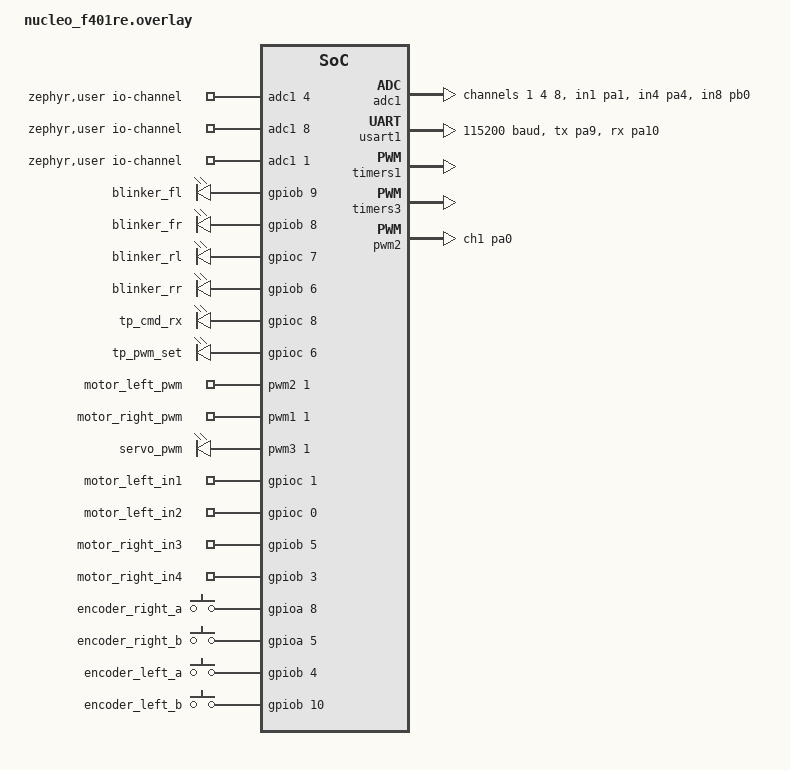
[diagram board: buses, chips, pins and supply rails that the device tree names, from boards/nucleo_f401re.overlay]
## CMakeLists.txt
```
cmake_minimum_required(VERSION 3.28.0)
find_package(Zephyr REQUIRED HINTS $ENV{ZEPHYR_BASE})
project(stm32)

# --- pi_stm32_uart module ---
add_library(pi_stm32_uart STATIC src/pi_stm32_uart.c)
target_include_directories(pi_stm32_uart PUBLIC ${CMAKE_CURRENT_SOURCE_DIR}/include)
target_link_libraries(pi_stm32_uart PUBLIC zephyr_interface)
add_dependencies(pi_stm32_uart zephyr_generated_headers)

# --- blinker module ---
add_library(blinker STATIC src/blinker.c)
target_include_directories(blinker PUBLIC ${CMAKE_CURRENT_SOURCE_DIR}/include)
target_link_libraries(blinker PUBLIC zephyr_interface)
add_dependencies(blinker zephyr_generated_headers)

# --- blinker control module ---
add_library(blinker_ctrl STATIC src/blinker_ctrl.c)
target_include_directories(blinker_ctrl PUBLIC ${CMAKE_CURRENT_SOURCE_DIR}/include)
target_link_libraries(blinker_ctrl PUBLIC zephyr_interface)
add_dependencies(blinker_ctrl zephyr_generated_headers)

# --- current module ---
add_library(current STATIC src/current.c)
target_include_directories(current PUBLIC ${CMAKE_CURRENT_SOURCE_DIR}/include)
target_link_libraries(current PUBLIC zephyr_interface)
add_dependencies(current zephyr_generated_headers)

# --- steering module ---
add_library(steering STATIC src/steering.c)
target_include_directories(steering PUBLIC ${CMAKE_CURRENT_SOURCE_DIR}/include)
target_link_libraries(steering PUBLIC zephyr_interface)
add_dependencies(steering zephyr_generated_headers)

# --- motor control module ---
add_library(motor_control STATIC src/motor_control.c)
target_include_directories(motor_control PUBLIC ${CMAKE_CURRENT_SOURCE_DIR}/include)
target_link_libraries(motor_control PUBLIC zephyr_interface)
add_dependencies(motor_control zephyr_generated_headers)

# --- encoder module ---
add_library(encoder STATIC src/encoder.c)
target_include_directories(encoder PUBLIC ${CMAKE_CURRENT_SOURCE_DIR}/include)
target_link_libraries(encoder PUBLIC zephyr_interface)
add_dependencies(encoder zephyr_generated_headers)

# --- pid module ---
add_library(pid_controller STATIC src/pid_controller.c)
target_include_directories(pid_controller PUBLIC ${CMAKE_CURRENT_SOURCE_DIR}/include)
target_link_libraries(pid_controller PUBLIC zephyr_interface)
add_dependencies(pid_controller zephyr_generated_headers)

# --- main app ---
target_sources(app PRIVATE src/main.c src/bench_commands.c)
target_link_libraries(app PRIVATE pi_stm32_uart)
target_link_libraries(app PRIVATE blinker)
target_link_libraries(app PRIVATE blinker_ctrl)
target_link_libraries(app PRIVATE current)
target_link_libraries(app PRIVATE steering)
target_link_libraries(app PRIVATE motor_control)
target_link_libraries(app PRIVATE encoder)
target_link_libraries(app PRIVATE pid_controller)
```

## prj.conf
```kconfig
CONFIG_GPIO=y
CONFIG_SERIAL=y
CONFIG_SHELL=y
CONFIG_SHELL_METAKEYS=y
CONFIG_UART_INTERRUPT_DRIVEN=y
CONFIG_CRC=y
CONFIG_PWM=y
CONFIG_ADC=y
CONFIG_LOG=y
CONFIG_PRINTK=y
```

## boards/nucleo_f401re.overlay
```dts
/* boards/nucleo_f401re.overlay */
#include <zephyr/dt-bindings/pwm/stm32_pwm.h>
/ {
	aliases {
		rpilink = &usart1;
		servo-pwm = &servo_pwm;
		blinker-fl = &blinker_fl;
		blinker-fr = &blinker_fr;
		blinker-rl = &blinker_rl;
		blinker-rr = &blinker_rr;
		motor-left-pwm = &motor_left_pwm;
		motor-right-pwm = &motor_right_pwm;
		motor-left-in1 = &motor_left_in1;
		motor-left-in2 = &motor_left_in2;
		motor-right-in3 = &motor_right_in3;
		motor-right-in4 = &motor_right_in4;
		encoder-right-a = &encoder_right_a;
		encoder-right-b = &encoder_right_b;
		encoder-left-a = &encoder_left_a;
		encoder-left-b = &encoder_left_b;
		tp-cmd-rx = &tp_cmd_rx;
		tp-pwm-set = &tp_pwm_set;
	};

	zephyr,user {
		/* index 0: left motor current (PA4), 1: right motor current (PB0),
		 * 2: servo current (PA1). Order matches current.c's enum
		 * CURRENT_MOTOR_A, CURRENT_MOTOR_B, CURRENT_SERVO. */
		io-channels = <&adc1 4>, <&adc1 8>, <&adc1 1>;
	};

	blinkers {
		compatible = "gpio-leds";

		blinker_fl: blinker_fl {
			gpios = <&gpiob 9 GPIO_ACTIVE_HIGH>;    /* D14 */
		};
		blinker_fr: blinker_fr {
			gpios = <&gpiob 8 GPIO_ACTIVE_HIGH>;    /* D15 */
		};
		blinker_rl: blinker_rl {
			gpios = <&gpioc 7 GPIO_ACTIVE_HIGH>;    /* D9 */
		};
		blinker_rr: blinker_rr {
			gpios = <&gpiob 6 GPIO_ACTIVE_HIGH>;    /* D10 */
		};
	};

	test_points {
		compatible = "gpio-leds";

		tp_cmd_rx: tp_cmd_rx {
			gpios = <&gpioc 8 GPIO_ACTIVE_HIGH>;
		};
		tp_pwm_set: tp_pwm_set  {
			gpios = <&gpioc 6 GPIO_ACTIVE_HIGH>;
		};
	};

	motor_pwm_outputs {
		compatible = "pwm-leds";

		motor_left_pwm: motor_left_pwm {
			pwms = <&pwm2 1 PWM_USEC(100) PWM_POLARITY_NORMAL>;
		};
		motor_right_pwm: motor_right_pwm {
			pwms = <&pwm1 1 PWM_USEC(100)
				(PWM_POLARITY_NORMAL | STM32_PWM_COMPLEMENTARY)>;
		};
	};

	servo_outputs {
		compatible = "pwm-leds";

		servo_pwm: servo_pwm {
			pwms = <&pwm3 1 PWM_MSEC(20) PWM_POLARITY_NORMAL>;
		};
	};

	motor_direction_outputs {
		compatible = "gpio-leds";

		motor_left_in1: motor_left_in1 {
			gpios = <&gpioc 1 GPIO_ACTIVE_HIGH>; /* A4 */
		};
		motor_left_in2: motor_left_in2 {
			gpios = <&gpioc 0 GPIO_ACTIVE_HIGH>; /* A5 */
		};
		motor_right_in3: motor_right_in3 {
			gpios = <&gpiob 5 GPIO_ACTIVE_HIGH>; /* D4 */
		};
		motor_right_in4: motor_right_in4 {
			gpios = <&gpiob 3 GPIO_ACTIVE_HIGH>; /* D3 */
		};
	};

	encoder_inputs {
		compatible = "gpio-keys";

		encoder_right_a: encoder_right_a {
			gpios = <&gpioa 8 GPIO_ACTIVE_HIGH>; /* D7, phase A */
		};
		encoder_right_b: encoder_right_b {
			gpios = <&gpioa 5 GPIO_ACTIVE_HIGH>; /* D13, phase B */
		};
		encoder_left_a: encoder_left_a {
			gpios = <&gpiob 4 GPIO_ACTIVE_HIGH>; /* D5, phase A */
		};
		encoder_left_b: encoder_left_b {
			gpios = <&gpiob 10 GPIO_ACTIVE_HIGH>; /* D6, phase B */
		};
	};
};

&spi1 { status = "disabled"; };
&i2c1 { status = "disabled"; };
&i2c3 { status = "disabled"; };

&adc1 {
	#address-cells = <1>;
	#size-cells = <0>;
	status = "okay";
	pinctrl-0 = <&adc1_in1_pa1 &adc1_in4_pa4 &adc1_in8_pb0>;
	pinctrl-names = "default";

	channel@1 {
		reg = <1>;
		zephyr,gain = "ADC_GAIN_1";
		zephyr,reference = "ADC_REF_INTERNAL";
		zephyr,acquisition-time = <ADC_ACQ_TIME_DEFAULT>;
		zephyr,input-positive = <1>; /* IN1, PA1 / A1, servo current */
		zephyr,resolution = <12>;
	};
	channel@4 {
		reg = <4>;
		zephyr,gain = "ADC_GAIN_1";
		zephyr,reference = "ADC_REF_INTERNAL";
		zephyr,acquisition-time = <ADC_ACQ_TIME_DEFAULT>;
		zephyr,input-positive = <4>; /* IN4, PA4 / A2, left motor current */
		zephyr,resolution = <12>;
	};
	channel@8 {
		reg = <8>;
		zephyr,gain = "ADC_GAIN_1";
		zephyr,reference = "ADC_REF_INTERNAL";
		zephyr,acquisition-time = <ADC_ACQ_TIME_DEFAULT>;
		zephyr,input-positive = <8>; /* IN8, PB0 / A3, right motor current */
		zephyr,resolution = <12>;
	};
};

&usart1 {
	/* Pi link: D8/PA9 TX, D2/PA10 RX */
	status = "okay";
	current-speed = <115200>;
	pinctrl-0 = <&usart1_tx_pa9 &usart1_rx_pa10>;
	pinctrl-names = "default";
};

&timers1 {
	status = "okay";
	pwm1: pwm {
		status = "okay";
        pinctrl-0 = <&tim1_ch1n_pa7>;
        pinctrl-names = "default";
	};
};

&timers3 {
	st,prescaler = <27>;
	status = "okay";
	pwm3: pwm {
		status = "okay";
		pinctrl-0 = <&tim3_ch1_pa6>;
		pinctrl-names = "default";
	};
};

&pwm2 {
	status = "okay";
	pinctrl-0 = <&tim2_ch1_pa0>;
	pinctrl-names = "default";
};
```

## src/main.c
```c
#include <zephyr/kernel.h>
#include <zephyr/sys/printk.h>
#include "pi_stm32_uart.h"
#include "blinker.h"
#include "blinker_ctrl.h"
#include "encoder.h"
#include "motor_control.h"
#include "current.h"
#include "pid_controller.h"
#include "steering.h"
#include "control_state.h"
#include "testpoints.h"

#define CONTROL_PERIOD_MS 10U
#define BRAKE_ACTIVE_THRESHOLD 50U

#define PID_MAX_SPEED_TRANSITIONS_PER_SECOND 6500.0f   // 14454.0 counts / 2 seconds = 7227 max -> 6500 = ~90% of measured 7227 max
#define PID_KP_DEFAULT 0.15f
#define PID_KI_DEFAULT 0.04f
#define PID_KD_DEFAULT 0.0f

#define RIGHT_ENCODER_SIGN  1   /* set to -1 if right wheel reads backward */
#define LEFT_ENCODER_SIGN   -1   /* set to -1 if left wheel reads backward */

#define MOTOR_MIN_EFFECTIVE_DUTY 55U

#define STATE_INIT     0
#define STATE_NORMAL   1
#define STATE_FAILSAFE 2
#define STATE_SELFTEST 3

#define FAILSAFE_TIMEOUT_MS 100

#define LEFT_TURN_BIT  0x01
#define RIGHT_TURN_BIT 0x02
#define SELF_TEST_BIT  0x04

#define PID_UPDATE_PERIOD_MS 20U   /* minimum real time between PID recalculations */

#define SELF_TEST_DOUBLE_PRESS_WINDOW_MS 500U

static atomic_t zone_state = ATOMIC_INIT(STATE_INIT);
static atomic_t application_initialized = ATOMIC_INIT(0);

/* Shared with bench_commands.c via control_state.h */
atomic_t pid_enabled = ATOMIC_INIT(1);
struct pid_controller right_pid;
struct pid_controller left_pid;

static int32_t previous_right_count;
static int32_t previous_left_count;
static bool have_speed_sample;
static int64_t previous_apply_time_ms;

static atomic_t self_test_failed = ATOMIC_INIT(0);
static int64_t last_self_test_press_ms = 0;

static float current_status_value(enum current_id id)
{
	float amps;
	int ret = current_read_amps(id, &amps);

	if (ret < 0) {
		printk("Current read failed for channel %d: %d\n", id, ret);
		return 0.0f;
	}

	if (amps < 0.0f) {
		amps = -amps;
	}
	return amps;
}

void reset_speed_controllers(void)
{
	pid_controller_reset(&right_pid);
	pid_controller_reset(&left_pid);
	have_speed_sample = false;
	previous_apply_time_ms = k_uptime_get();
}

static void apply_throttle(uint16_t throttle)
{
	int64_t now_ms = k_uptime_get();

	if (throttle > 1000U) {
		throttle = 1000U;
	}
	if (throttle == 0U) {
		(void)motor_control_dynamic_brake();
		reset_speed_controllers();
		return;
	}

	if (atomic_get(&pid_enabled) == 0) {
		(void)motor_control_drive_forward(throttle / 10U);
		return;
	}

	/* Only run the PID update itself at a bounded minimum interval —
	 * velocity-from-counts is too noisy to differentiate faster than this. */
	if (have_speed_sample && (now_ms - previous_apply_time_ms) < PID_UPDATE_PERIOD_MS) {
		return;   /* keep driving at the last commanded duty; don't recompute yet */
	}

	int32_t right_count, left_count;
	float right_speed, left_speed, target_speed, dt_seconds;
	unsigned int right_duty, left_duty;

	encoder_get_counts(&right_count, &left_count);
	if (!have_speed_sample) {
		previous_right_count = right_count;
		previous_left_count = left_count;
		previous_apply_time_ms = now_ms;
		have_speed_sample = true;
		(void)motor_control_drive_forward(0U);
		return;
	}

	dt_seconds = (float)(now_ms - previous_apply_time_ms) / 1000.0f;
	previous_apply_time_ms = now_ms;

	right_speed = RIGHT_ENCODER_SIGN * (float)(right_count - previous_right_count) / dt_seconds;
	left_speed  = LEFT_ENCODER_SIGN  * (float)(left_count  - previous_left_count)  / dt_seconds;
	previous_right_count = right_count;
	previous_left_count = left_count;
	target_speed = ((float)throttle / 1000.0f) * PID_MAX_SPEED_TRANSITIONS_PER_SECOND;

	right_duty = (unsigned int)pid_controller_update(&right_pid, target_speed, right_speed, dt_seconds);
	left_duty  = (unsigned int)pid_controller_update(&left_pid, target_speed, left_speed, dt_seconds);

	if (right_duty > 0 && right_duty < MOTOR_MIN_EFFECTIVE_DUTY) right_duty = MOTOR_MIN_EFFECTIVE_DUTY;
	if (left_duty > 0 && left_duty < MOTOR_MIN_EFFECTIVE_DUTY) left_duty = MOTOR_MIN_EFFECTIVE_DUTY;

	(void)motor_control_set_state(MOTOR_CHANNEL_A, MOTOR_CONTROL_FORWARD, left_duty);
	(void)motor_control_set_state(MOTOR_CHANNEL_B, MOTOR_CONTROL_FORWARD, right_duty);

	static uint32_t debug_counter = 0;
	if (++debug_counter % 5 == 0) {
		printk("dt=%.4f target=%.1f right_spd=%.1f right_duty=%u | left_spd=%.1f left_duty=%u\n",
			(double)dt_seconds, (double)target_speed, (double)right_speed, right_duty,
			(double)left_speed, left_duty);
	}
}

// Status heartbeat thread: sends every 20ms
static void status_thread_fn(void *a, void *b, void *c)
{
	ARG_UNUSED(a); ARG_UNUSED(b); ARG_UNUSED(c);

	while (1) {
		status_frame_t st;
		st.state = (uint8_t)atomic_get(&zone_state);

		if (atomic_get(&application_initialized) != 0) {
			st.motor1_current = current_status_value(CURRENT_MOTOR_A);
			st.motor2_current = current_status_value(CURRENT_MOTOR_B);
			st.servo_current  = current_status_value(CURRENT_SERVO);
		} else {
			st.motor1_current = 0.0f;
			st.motor2_current = 0.0f;
			st.servo_current  = 0.0f;
		}
         
		cmd_frame_t last_cmd;
		st.seq = pi_stm32_uart_get_latest_cmd(&last_cmd) ? last_cmd.seq : 0;

		pi_stm32_uart_send_status(&st);
		k_sleep(K_MSEC(20));
	}
}
K_THREAD_DEFINE(status_tid, 1024, status_thread_fn, NULL, NULL, NULL, 7, 0, 0);

// Control thread: reads latest command, checks failsafe, drives actuators
static void control_thread_fn(void *a, void *b, void *c)
{
	ARG_UNUSED(a); ARG_UNUSED(b); ARG_UNUSED(c);

	uint8_t prev_buttons = 0;

	while (1) {
		/* Wake immediately when a command arrives, or after
		 * CONTROL_PERIOD_MS regardless, so failsafe/self-cancel
		 * logic keeps running even with no commands flowing. */
		k_sem_take(&cmd_received_sem, K_MSEC(CONTROL_PERIOD_MS));
		if (atomic_get(&application_initialized) == 0) {
			atomic_set(&zone_state, STATE_FAILSAFE);
			blinker_set_hazard(true);
			continue;
		}

		cmd_frame_t cmd;
		bool have = pi_stm32_uart_get_latest_cmd(&cmd);
		uint32_t age = pi_stm32_uart_ms_since_last_cmd();
		bool invalid_cmd = pi_stm32_uart_take_invalid_cmd();

		/*
		 * Evaluate the self-test edge before the failure-state branch.
		 * Otherwise LOCAL_FAIL prevents the second press from ever being
		 * observed, making double-press restoration impossible.
		 */
		if (have) {
			bool left_now = cmd.buttons & LEFT_TURN_BIT;
			bool right_now = cmd.buttons & RIGHT_TURN_BIT;
			bool self_test_now = cmd.buttons & SELF_TEST_BIT;

			bool left_prev = prev_buttons & LEFT_TURN_BIT;
			bool right_prev = prev_buttons & RIGHT_TURN_BIT;
			bool self_test_prev = prev_buttons & SELF_TEST_BIT;

			if (!atomic_get(&self_test_failed)) {
				if (left_now && !left_prev) {
					blinker_signal_left_pressed();
				}
				if (right_now && !right_prev) {
					blinker_signal_right_pressed();
				}
			}

			if (self_test_now && !self_test_prev) {
				int64_t now_ms = k_uptime_get();
				int64_t delta = now_ms - last_self_test_press_ms;

				printk("SELF-TEST EDGE: delta_since_last=%lldms, currently_failed=%ld\n",
					delta, atomic_get(&self_test_failed));
				if (atomic_get(&self_test_failed) &&
				    delta <= SELF_TEST_DOUBLE_PRESS_WINDOW_MS) {
					atomic_set(&self_test_failed, 0);
					printk("*** SELF-TEST: RESTORED (double press) ***\n");
				} else {
					atomic_set(&self_test_failed, 1);
					printk("*** SELF-TEST: FAILED (single press) ***\n");
				}
				last_self_test_press_ms = now_ms;
			}

			prev_buttons = cmd.buttons;
		}

		if (!have || age > FAILSAFE_TIMEOUT_MS ||
		    atomic_get(&self_test_failed) || invalid_cmd) {
 			if (atomic_get(&zone_state) != STATE_FAILSAFE) {
				printk("*** ENTERING FAILSAFE (age=%ums%s) ***\n", age,
				       invalid_cmd ? ", invalid command" : "");
				blinker_set_hazard(true);
			}
			atomic_set(&zone_state, STATE_FAILSAFE);

			if (!motor_control_manual_test_active()) {
				(void)motor_control_dynamic_brake();
			}
			reset_speed_controllers();

		} else {
			if (atomic_get(&zone_state) == STATE_FAILSAFE) {
				printk("*** RECOVERED TO NORMAL ***\n");
				blinker_set_hazard(false);
			}
			atomic_set(&zone_state, STATE_NORMAL);

			printk("seq=%u steer=%d thr=%u brk=%u btn=0x%02x age=%ums\n",
			       cmd.seq, cmd.steering, cmd.throttle, cmd.brake, cmd.buttons, age);

			if (!motor_control_manual_test_active()) {
				(void)set_wheel_angle(cmd.steering);
				if (cmd.brake >= BRAKE_ACTIVE_THRESHOLD) {
					(void)motor_control_dynamic_brake();
					reset_speed_controllers();
				} else {
					apply_throttle(cmd.throttle);
				}
			}
			blinker_update_steering(cmd.steering);
		}
	}
}
K_THREAD_DEFINE(control_tid, 1024, control_thread_fn, NULL, NULL, NULL, 5, 0, 0);

int main(void)
{
	if (testpoints_init() < 0) {
		printk("testpoints init failed\n");
	}

	pi_stm32_uart_init();

	int motor_rc = motor_control_init();
	if (motor_rc != 0) {
		atomic_set(&zone_state, STATE_FAILSAFE);
		printk("Motor safe-output initialization failed: %d\n", motor_rc);
	}

	int encoder_rc = encoder_init();
	if (encoder_rc != 0) {
		printk("Encoder initialization failed: %d\n", encoder_rc);
	}

	int steering_rc = servo_init();
	if (steering_rc != 0) {
		printk("Steering initialization failed: %d\n", steering_rc);
	}

	int current_rc = current_init();
	if (current_rc != 0) {
		printk("Current-sense initialization failed: %d\n", current_rc);
	}

	int blinker_rc = blinker_init_all();
	if (blinker_rc != 0) {
		printk("Blinker initialization failed: %d\n", blinker_rc);
	}

	pid_controller_init(&right_pid, PID_KP_DEFAULT, PID_KI_DEFAULT, PID_KD_DEFAULT, 0.0f, 100.0f);
	pid_controller_init(&left_pid, PID_KP_DEFAULT, PID_KI_DEFAULT, PID_KD_DEFAULT, 0.0f, 100.0f);

	if (motor_rc == 0) {
		atomic_set(&application_initialized, 1);
	}

	printk("Lab 2 STM32 online. Waiting for commands...\n");
	return 0;
}
```

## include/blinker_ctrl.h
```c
#ifndef BLINKER_CTRL_H
#define BLINKER_CTRL_H

#include <stdint.h>
#include <stdbool.h>

enum blink_state {
    BLINK_OFF,
    BLINK_LEFT,
    BLINK_RIGHT,
    BLINK_HAZARD,
};

/* Starts the blinker thread */
void blinker_control_start(void);

/* Called from control thread each time a new command frame is processed. */
void blinker_signal_left_pressed(void);
void blinker_signal_right_pressed(void);

/* Called from control thread every cycle with the current steering value,
 * to detect threshold crossings for self-cancel. */
void blinker_update_steering(int16_t steering);

/* Called to force hazards on/off (self-test / system error state). */
void blinker_set_hazard(bool on);

#endif
```

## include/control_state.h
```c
#ifndef CONTROL_STATE_H
#define CONTROL_STATE_H

#include <zephyr/kernel.h>
#include "pid_controller.h"

/* Shared between main.c (owns/updates these) and bench_commands.c
 * (shell commands that need to read/reset/retune them). */
extern atomic_t pid_enabled;
extern struct pid_controller right_pid;
extern struct pid_controller left_pid;

void reset_speed_controllers(void);

#endif
```

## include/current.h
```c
#ifndef CURRENT_H
#define CURRENT_H

#include <stdint.h>

enum current_id {
    CURRENT_MOTOR_A,   /* left motor: A2 / PA4 / IN4 -> index 0 */
    CURRENT_MOTOR_B,   /* right motor: A3 / PB0 / IN8 -> index 1 */
    CURRENT_SERVO,     /* steering: A1 / PA1 / IN1 -> index 2 */
    CURRENT_COUNT
};
/* Configures the ADC channel(s). Returns 0 on success, or a negative
 * errno (-ENODEV if the ADC device isn't ready, or whatever
 * adc_channel_setup_dt returns). */
int current_init(void);

/* Reads one channel and returns the raw ADC count (0..4095 for 12-bit).
 * Returns a negative errno on failure. */
int current_read_raw(enum current_id id);

/* Converts a raw ADC count on the STM32 pin back to the current in amps
 * that the ACS712 is reporting, undoing the voltage divider. */
float current_raw_to_amps(int32_t raw_count);

/* Convenience: reads and converts in one call. Returns 0 on success and
 * writes the result to *out_amps; returns a negative errno on failure. */
int current_read_amps(enum current_id id, float *out_amps);

#endif /* CURRENT_H */
```

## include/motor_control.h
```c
#ifndef MOTOR_CONTROL_H
#define MOTOR_CONTROL_H

#include <stdbool.h>

#define MOTOR_TEST_DURATION_MS  3000U
#define MOTOR_TEST_DUTY_PERCENT 100U

/*
 * Low-level interface to the L298N. Initialization applies dynamic braking
 * (both PWM enables at 100% and all four direction inputs high); subsequent
 * commands change direction only after first disabling the PWM enable.
 */

int motor_control_init(void);
int motor_control_safe_stop(void);

enum motor_control_channel {
	MOTOR_CHANNEL_A, /* Left: L298N OUT1 / OUT2, controlled by ENA / IN1 / IN2 */
	MOTOR_CHANNEL_B, /* Right: L298N OUT3 / OUT4, controlled by ENB / IN3 / IN4 */
};

enum motor_control_state {
	MOTOR_CONTROL_COAST,
	MOTOR_CONTROL_FORWARD,
	MOTOR_CONTROL_REVERSE,
	MOTOR_CONTROL_BRAKE,
};

/* Set one H-bridge channel. Duty is a percent (0 through 100). */
int motor_control_set_state(enum motor_control_channel channel,
			    enum motor_control_state state, unsigned int duty_percent);

/* Apply the same forward duty to both physical wheels. */
int motor_control_drive_forward(unsigned int duty_percent);
int motor_control_dynamic_brake(void);

/*
 * Bench-only proof of the wired output path. This drives exactly one channel
 * at the configured test duty/duration, then returns to dynamic braking.
 */
int motor_control_pulse(enum motor_control_channel channel);
bool motor_control_manual_test_active(void);

#endif /* MOTOR_CONTROL_H */
```

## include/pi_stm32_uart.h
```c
#ifndef PI_STM32_UART_H
#define PI_STM32_UART_H

#include <stdint.h>
#include <stdbool.h>

typedef struct {
	int16_t  steering;
	uint16_t throttle;
	uint16_t brake;
	uint8_t  buttons;
	uint8_t  seq;
} cmd_frame_t;

typedef struct {
	uint8_t  state;      /* 0=INIT,1=NORMAL,2=FAILSAFE,3=SELFTEST */
	uint8_t  seq;
	float    motor1_current; /* amps */
	float    motor2_current; /* amps */
	float    servo_current;  /* amps */
} status_frame_t;

extern struct k_sem cmd_received_sem;

void pi_stm32_uart_init(void);

/* Returns true if a valid command has ever been received.
 * Always fills *out with the latest known command (even if stale) —
 * caller checks staleness separately via pi_stm32_uart_ms_since_last_cmd(). */
bool pi_stm32_uart_get_latest_cmd(cmd_frame_t *out);

uint32_t pi_stm32_uart_ms_since_last_cmd(void);

void pi_stm32_uart_send_status(const status_frame_t *st);

#endif
```

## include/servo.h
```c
#ifndef SERVO_H
#define SERVO_H

#include <stdint.h>

#define SERVO_PERIOD_US       20000U
#define SERVO_PULSE_MIN_US    500U
#define SERVO_PULSE_MAX_US    2500U
#define SERVO_PULSE_CENTER_US 1500U
#define MAX_WHEEL_STATE       1000
#define MIN_WHEEL_STATE       1000

/* Configure the servo PWM and start at the neutral pulse width. */
int servo_init(void);

/* Set the pulse width; values are clamped to the supported range. */
int servo_set_pulse_us(uint32_t pulse_us);

/* Sets wheel angle based off inbound UDP packet data */
int set_wheel_angle(int32_t wheel_state);

/* For breaking, disables servo output */
int servo_disable(void);

#endif
```

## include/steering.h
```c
#ifndef STEERING_H
#define STEERING_H

#include <stdint.h>

#define SERVO_PERIOD_US       20000U
#define SERVO_PULSE_MIN_US    500U
#define SERVO_PULSE_MAX_US    2500U
#define SERVO_PULSE_CENTER_US 1500U
#define MAX_WHEEL_STATE       1000
#define MIN_WHEEL_STATE       -1000
#define SERVO_PULSE_LEFT_US    1000U   /* measured, minus margin */
#define SERVO_PULSE_CENTER_US  1500U   /* measured straight-ahead */
#define SERVO_PULSE_RIGHT_US   2000U   /* measured, minus margin */

/* Configure the servo PWM and start at the neutral pulse width. */
int servo_init(void);

/* Set the pulse width; values are clamped to the supported range. */
int servo_set_pulse_us(uint32_t pulse_us);

/* Sets wheel angle based off inbound UDP packet data */
int set_wheel_angle(int16_t wheel_state);

/* For breaking, disables servo output */
int servo_disable(void);

#endif /* STEERING_H */
```

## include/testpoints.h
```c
#ifndef TESTPOINTS_H
#define TESTPOINTS_H

#include <stdbool.h>

/*
 * Optional timing instrumentation hooks.  No test-point GPIO aliases are in
 * the current Lab 2 wiring, so these are deliberately harmless no-ops until
 * the team maps physical test-point pins.
 */
enum testpoint_id {
	TP_CMD_RX,
	TP_PWM_SET,
};

int testpoints_init(void);
void testpoint_set(enum testpoint_id id, bool asserted);

#endif /* TESTPOINTS_H */
```

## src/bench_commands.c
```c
#include <errno.h>
#include <stdlib.h>

#include <zephyr/kernel.h>
#include <zephyr/shell/shell.h>

#include "encoder.h"
#include "motor_control.h"
#include "steering.h"
#include "control_state.h"

#define ENCODER_MONITOR_PERIOD_MS 100U
#define STEERING_TEST_MAGNITUDE   500
#define STEERING_TEST_HOLD_MS     1000U

static int cmd_pid_enable(const struct shell *sh, size_t argc, char **argv)
{
	if (argc != 2 || (argv[1][0] != '0' && argv[1][0] != '1') ||
	    argv[1][1] != '\0') {
		shell_error(sh, "usage: pid_enable <0|1>");
		return -EINVAL;
	}

	atomic_set(&pid_enabled, argv[1][0] == '1');
	pid_controller_reset(&right_pid);
	pid_controller_reset(&left_pid);
	shell_print(sh, "PID speed control %s", argv[1][0] == '1' ? "enabled" : "disabled");
	if (argv[1][0] == '1') {
		shell_warn(sh, "Enable only after both encoder counts are valid; bad feedback can command full PWM");
	}
	return 0;
}
SHELL_CMD_ARG_REGISTER(pid_enable, NULL,
			"Enable PID only after encoder validation: pid_enable <0|1>",
			cmd_pid_enable, 2, 0);

static int cmd_pid_gains(const struct shell *sh, size_t argc, char **argv)
{
	char *end;
	float kp, ki, kd;

	if (argc != 4) {
		shell_error(sh, "usage: pid_gains <kp> <ki> <kd>");
		return -EINVAL;
	}

	kp = strtof(argv[1], &end);
	if (*end != '\0') return -EINVAL;
	ki = strtof(argv[2], &end);
	if (*end != '\0') return -EINVAL;
	kd = strtof(argv[3], &end);
	if (*end != '\0') return -EINVAL;

	pid_controller_set_gains(&right_pid, kp, ki, kd);
	pid_controller_set_gains(&left_pid, kp, ki, kd);
	pid_controller_reset(&right_pid);
	pid_controller_reset(&left_pid);
	shell_print(sh, "PID gains set: Kp=%g Ki=%g Kd=%g", (double)kp, (double)ki, (double)kd);
	return 0;
}
SHELL_CMD_ARG_REGISTER(pid_gains, NULL, "Set both motor PID gains: pid_gains <kp> <ki> <kd>",
			cmd_pid_gains, 4, 0);

static int cmd_motor_pulse(const struct shell *sh, size_t argc, char **argv)
{
	enum motor_control_channel channel;
	int rc;

	if (argc != 2 || (argv[1][0] != 'a' && argv[1][0] != 'b') || argv[1][1] != '\0') {
		shell_error(sh, "usage: motor_pulse <a|b>");
		return -EINVAL;
	}

	channel = argv[1][0] == 'a' ? MOTOR_CHANNEL_A : MOTOR_CHANNEL_B;
	shell_print(sh, "Pulsing motor channel %c at %u%% for %u ms", argv[1][0],
		    MOTOR_TEST_DUTY_PERCENT, MOTOR_TEST_DURATION_MS);
	rc = motor_control_pulse(channel);
	if (rc != 0) {
		shell_error(sh, "pulse failed: %d", rc);
		return rc;
	}

	shell_print(sh, "Pulse finished; motor outputs are safe");
	return 0;
}
SHELL_CMD_ARG_REGISTER(motor_pulse, NULL, "Bench pulse: motor_pulse <a|b>", cmd_motor_pulse, 2, 0);

static int cmd_steering_test(const struct shell *sh, size_t argc, char **argv)
{
	int rc;

	ARG_UNUSED(argc);
	ARG_UNUSED(argv);
	shell_print(sh, "Steering test: center, right, center, left, center");

	rc = set_wheel_angle(0);
	if (rc != 0) return rc;
	k_sleep(K_MSEC(STEERING_TEST_HOLD_MS));

	rc = set_wheel_angle(STEERING_TEST_MAGNITUDE);
	if (rc != 0) return rc;
	k_sleep(K_MSEC(STEERING_TEST_HOLD_MS));

	rc = set_wheel_angle(0);
	if (rc != 0) return rc;
	k_sleep(K_MSEC(STEERING_TEST_HOLD_MS));

	rc = set_wheel_angle(-STEERING_TEST_MAGNITUDE);
	if (rc != 0) return rc;
	k_sleep(K_MSEC(STEERING_TEST_HOLD_MS));

	rc = set_wheel_angle(0);
	if (rc == 0) {
		shell_print(sh, "Steering test complete; wheels centered");
	}
	return rc;
}
SHELL_CMD_REGISTER(steering_test, NULL, "Center/right/left steering bench test", cmd_steering_test);

static int cmd_encoder_status(const struct shell *sh, size_t argc, char **argv)
{
	int32_t right_count, left_count;

	ARG_UNUSED(argc);
	ARG_UNUSED(argv);
	encoder_get_counts(&right_count, &left_count);
	shell_print(sh, "Encoder counts: right=%d left=%d", right_count, left_count);
	return 0;
}
SHELL_CMD_REGISTER(encoder_status, NULL, "Show signed encoder counts", cmd_encoder_status);

static int cmd_encoder_zero(const struct shell *sh, size_t argc, char **argv)
{
	ARG_UNUSED(argc);
	ARG_UNUSED(argv);
	encoder_zero_counts();
	shell_print(sh, "Encoder counts reset to zero");
	return 0;
}
SHELL_CMD_REGISTER(encoder_zero, NULL, "Reset both encoder counts", cmd_encoder_zero);

static int cmd_encoder_levels(const struct shell *sh, size_t argc, char **argv)
{
	uint8_t right_a, right_b, left_a, left_b;
	int rc;

	ARG_UNUSED(argc);
	ARG_UNUSED(argv);
	rc = encoder_get_levels(&right_a, &right_b, &left_a, &left_b);
	if (rc != 0) {
		shell_error(sh, "encoder read failed: %d", rc);
		return rc;
	}

	shell_print(sh, "Encoder levels: right A=%u B=%u; left A=%u B=%u",
		    right_a, right_b, left_a, left_b);
	return 0;
}
SHELL_CMD_REGISTER(encoder_levels, NULL, "Show live A/B logic levels", cmd_encoder_levels);

static int cmd_encoder_monitor(const struct shell *sh, size_t argc, char **argv)
{
	uint8_t input[32];
	uint8_t right_a, right_b, left_a, left_b;
	int rc;

	ARG_UNUSED(argc);
	ARG_UNUSED(argv);
	shell_print(sh, "Monitoring encoder levels every %u ms; press Ctrl-C to stop",
		    ENCODER_MONITOR_PERIOD_MS);

	while (true) {
		rc = encoder_get_levels(&right_a, &right_b, &left_a, &left_b);
		if (rc != 0) {
			shell_error(sh, "encoder read failed: %d", rc);
			return rc;
		}

		shell_print(sh, "Encoder levels: right A=%u B=%u; left A=%u B=%u",
			    right_a, right_b, left_a, left_b);

		rc = shell_readline(sh, input, sizeof(input), K_MSEC(ENCODER_MONITOR_PERIOD_MS));
		if (rc == -ECANCELED) break;
		if (rc < 0 && rc != -ETIMEDOUT) {
			shell_error(sh, "monitor input failed: %d", rc);
			return rc;
		}
	}

	shell_print(sh, "Encoder monitor stopped");
	return 0;
}
SHELL_CMD_REGISTER(encoder_monitor, NULL, "Continuously show A/B levels; Ctrl-C stops it",
		    cmd_encoder_monitor);

static int cmd_encoder_edges(const struct shell *sh, size_t argc, char **argv)
{
	int32_t right_a, right_b, left_a, left_b;

	ARG_UNUSED(argc);
	ARG_UNUSED(argv);
	encoder_get_edge_counts(&right_a, &right_b, &left_a, &left_b);
	shell_print(sh, "Raw encoder edges: right A=%d B=%d; left A=%d B=%d",
		    right_a, right_b, left_a, left_b);
	return 0;
}
SHELL_CMD_REGISTER(encoder_edges, NULL, "Show raw A/B GPIO edge counts", cmd_encoder_edges);

static int cmd_encoder_count_monitor(const struct shell *sh, size_t argc, char **argv)
{
	uint8_t input[32];
	int32_t right_count, left_count;
	int32_t right_a_edges, right_b_edges, left_a_edges, left_b_edges;
	int rc;

	ARG_UNUSED(argc);
	ARG_UNUSED(argv);
	shell_print(sh, "Monitoring encoder transition counts every %u ms; press Ctrl-C to stop",
		    ENCODER_MONITOR_PERIOD_MS);

	while (true) {
		encoder_get_counts(&right_count, &left_count);
		encoder_get_edge_counts(&right_a_edges, &right_b_edges, &left_a_edges, &left_b_edges);

		shell_print(sh, "Counts: right=%d (A=%d B=%d); left=%d (A=%d B=%d)",
			    right_count, right_a_edges, right_b_edges,
			    left_count, left_a_edges, left_b_edges);

		rc = shell_readline(sh, input, sizeof(input), K_MSEC(ENCODER_MONITOR_PERIOD_MS));
		if (rc == -ECANCELED) break;
		if (rc < 0 && rc != -ETIMEDOUT) {
			shell_error(sh, "monitor input failed: %d", rc);
			return rc;
		}
	}

	shell_print(sh, "Encoder count monitor stopped");
	return 0;
}
SHELL_CMD_REGISTER(encoder_count_monitor, NULL, "Continuously show transition counts; Ctrl-C stops it",
		    cmd_encoder_count_monitor);
```

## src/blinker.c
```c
#include <zephyr/kernel.h>
#include <zephyr/drivers/gpio.h>
#include "blinker.h"

static const struct gpio_dt_spec blinkers[BLINKER_COUNT] = {
    [BLINKER_FL] = GPIO_DT_SPEC_GET(DT_ALIAS(blinker_fl), gpios),
    [BLINKER_FR] = GPIO_DT_SPEC_GET(DT_ALIAS(blinker_fr), gpios),
    [BLINKER_RL] = GPIO_DT_SPEC_GET(DT_ALIAS(blinker_rl), gpios),
    [BLINKER_RR] = GPIO_DT_SPEC_GET(DT_ALIAS(blinker_rr), gpios),
};

int blinker_init(enum blinker_id id) {
    if (id >= BLINKER_COUNT) {
        return -EINVAL;
    }
    if (!gpio_is_ready_dt(&blinkers[id])) {
            return -ENODEV;
    }
    return gpio_pin_configure_dt(&blinkers[id], GPIO_OUTPUT_INACTIVE);
}

int blinker_init_all(void)
{
    for (int i = 0; i < BLINKER_COUNT; i++) {
        int ret;
        if ((ret = blinker_init(i)) < 0) {
            return ret;
        }
    }
    return 0;
}

void blinker_set(enum blinker_id id, bool on)
{
    if (id < BLINKER_COUNT) {
        gpio_pin_set_dt(&blinkers[id], on);
    }
}
```

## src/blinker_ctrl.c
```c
#include <zephyr/kernel.h>
#include <stdbool.h>
#include "blinker.h"
#include "blinker_ctrl.h"

/* TODO: tune and document — steering units match your UART command frame's
 * ±1000 range. This is the point past which turning the wheel counts as
 * "committed to the turn" for self-cancel purposes. */
#define TURN_THRESHOLD_LEFT   (-400)
#define TURN_THRESHOLD_RIGHT  (400)

#define BLINK_PERIOD_MS   1000   /* 1Hz nominal */
#define BLINK_ON_MS       (BLINK_PERIOD_MS / 2)   /* 50% duty */
#define HAZARD_PERIOD_MS  500    /* 2Hz nominal, per S4 hazard spec */
#define HAZARD_ON_MS      (HAZARD_PERIOD_MS / 2)

static enum blink_state state = BLINK_OFF;
static bool past_threshold = false;

K_MUTEX_DEFINE(state_lock);

void blinker_signal_left_pressed(void)
{
    k_mutex_lock(&state_lock, K_FOREVER);
    if (state == BLINK_LEFT) {
        state = BLINK_OFF;
    } else if (state != BLINK_HAZARD) {
        state = BLINK_LEFT;
        past_threshold = false;
    }
    k_mutex_unlock(&state_lock);
}

void blinker_signal_right_pressed(void)
{
    k_mutex_lock(&state_lock, K_FOREVER);
    if (state == BLINK_RIGHT) {
        state = BLINK_OFF;
    } else if (state != BLINK_HAZARD) {
        state = BLINK_RIGHT;
        past_threshold = false;
    }
    k_mutex_unlock(&state_lock);
}

void blinker_update_steering(int16_t steering)
{
    k_mutex_lock(&state_lock, K_FOREVER);

    if (state == BLINK_LEFT) {
        if (steering <= TURN_THRESHOLD_LEFT) {
            past_threshold = true;
        } else if (past_threshold && steering > TURN_THRESHOLD_LEFT) {
            /* crossed past threshold, now returned past it -> self-cancel */
            state = BLINK_OFF;
        }
    } else if (state == BLINK_RIGHT) {
        if (steering >= TURN_THRESHOLD_RIGHT) {
            past_threshold = true;
        } else if (past_threshold && steering < TURN_THRESHOLD_RIGHT) {
            state = BLINK_OFF;
        }
    }

    k_mutex_unlock(&state_lock);
}

void blinker_set_hazard(bool on)
{
    k_mutex_lock(&state_lock, K_FOREVER);
    state = on ? BLINK_HAZARD : BLINK_OFF;
    k_mutex_unlock(&state_lock);
}

static void blinker_thread_fn(void *a, void *b, void *c)
{
    ARG_UNUSED(a); ARG_UNUSED(b); ARG_UNUSED(c);

    bool light_on = false;

    while (1) {
        enum blink_state current;

        k_mutex_lock(&state_lock, K_FOREVER);
        current = state;
        k_mutex_unlock(&state_lock);

        int sleep_duration_ms;
        int period_ms = (current == BLINK_HAZARD) ? HAZARD_PERIOD_MS : BLINK_PERIOD_MS;
        int on_ms     = (current == BLINK_HAZARD) ? HAZARD_ON_MS     : BLINK_ON_MS;

        switch (current) {
        case BLINK_LEFT:
            blinker_set(BLINKER_FL, light_on);
            blinker_set(BLINKER_RL, light_on);
            blinker_set(BLINKER_FR, false);
            blinker_set(BLINKER_RR, false);
            break;

        case BLINK_RIGHT:
            blinker_set(BLINKER_FR, light_on);
            blinker_set(BLINKER_RR, light_on);
            blinker_set(BLINKER_FL, false);
            blinker_set(BLINKER_RL, false);
            break;

        case BLINK_HAZARD:
            blinker_set(BLINKER_FL, light_on);
            blinker_set(BLINKER_FR, light_on);
            blinker_set(BLINKER_RL, light_on);
            blinker_set(BLINKER_RR, light_on);
            break;

        case BLINK_OFF:
        default:
            blinker_set(BLINKER_FL, false);
            blinker_set(BLINKER_FR, false);
            blinker_set(BLINKER_RL, false);
            blinker_set(BLINKER_RR, false);
            light_on = false;   /* force next iteration to start from OFF */
            break;
        }

        /* Decide how long to stay in the state we just displayed */
        sleep_duration_ms = light_on ? on_ms : (period_ms - on_ms);

        /* Flip for next iteration */
        light_on = !light_on;

        k_sleep(K_MSEC(sleep_duration_ms));
    }
}

K_THREAD_DEFINE(blinker_tid, 512, blinker_thread_fn, NULL, NULL, NULL, 6, 0, 0);

void blinker_control_start(void)
{
    /* Thread already started via K_THREAD_DEFINE; this function exists
     * as an explicit hook in case init ordering ever needs it. */
}
```

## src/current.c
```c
#include <zephyr/kernel.h>
#include <zephyr/drivers/adc.h>
#include "current.h"

/* ---- ACS712 5A variant (ACS712ELCTR-05B-T), confirmed from datasheet ---- */
#define ADC_VREF_MV       3300
#define ADC_MAX_COUNT     4096      /* 12-bit resolution */
#define ACS712_VCC_MV     5000
#define ACS712_ZERO_MV    (ACS712_VCC_MV / 2)  /* nominal VIOUT(Q), 2500 mV */
#define ACS712_MV_PER_A   185.0f    /* 5A variant: 180-190 mV/A, typ 185 */
#define DIVIDER_TOP_OHM   10000.0f
#define DIVIDER_BOTTOM_OHM 14700.0f
#define DIVIDER_GAIN      ((DIVIDER_TOP_OHM + DIVIDER_BOTTOM_OHM) / DIVIDER_BOTTOM_OHM)

static const struct adc_dt_spec current_channels[CURRENT_COUNT] = {
    [CURRENT_MOTOR_A] = ADC_DT_SPEC_GET_BY_IDX(DT_PATH(zephyr_user), 0),
    [CURRENT_MOTOR_B] = ADC_DT_SPEC_GET_BY_IDX(DT_PATH(zephyr_user), 1),
    [CURRENT_SERVO]   = ADC_DT_SPEC_GET_BY_IDX(DT_PATH(zephyr_user), 2),
};

static int16_t sample_buf;

int current_init(void)
{
    for (int i = 0; i < CURRENT_COUNT; i++) {
        if (!adc_is_ready_dt(&current_channels[i])) {
            return -ENODEV;
        }
        int ret = adc_channel_setup_dt(&current_channels[i]);
        if (ret < 0) {
            return ret;
        }
    }
    return 0;
}

int current_read_raw(enum current_id id)
{
    if (id >= CURRENT_COUNT) {
        return -EINVAL;
    }

    struct adc_sequence sequence = {
        .buffer = &sample_buf,
        .buffer_size = sizeof(sample_buf),
    };

    int ret = adc_sequence_init_dt(&current_channels[id], &sequence);
    if (ret < 0) {
        return ret;
    }

    ret = adc_read_dt(&current_channels[id], &sequence);
    if (ret < 0) {
        return ret;
    }
    return sample_buf;
}

float current_raw_to_amps(int32_t raw_count)
{
    float adc_pin_mv = (raw_count * (float)ADC_VREF_MV) / ADC_MAX_COUNT;
    float sensor_output_mv = adc_pin_mv * DIVIDER_GAIN;
    return (sensor_output_mv - ACS712_ZERO_MV) / ACS712_MV_PER_A;
}

int current_read_amps(enum current_id id, float *out_amps)
{
    int raw = current_read_raw(id);
    if (raw < 0) {
        return raw;
    }

    *out_amps = current_raw_to_amps(raw);

    return 0;
}
```
